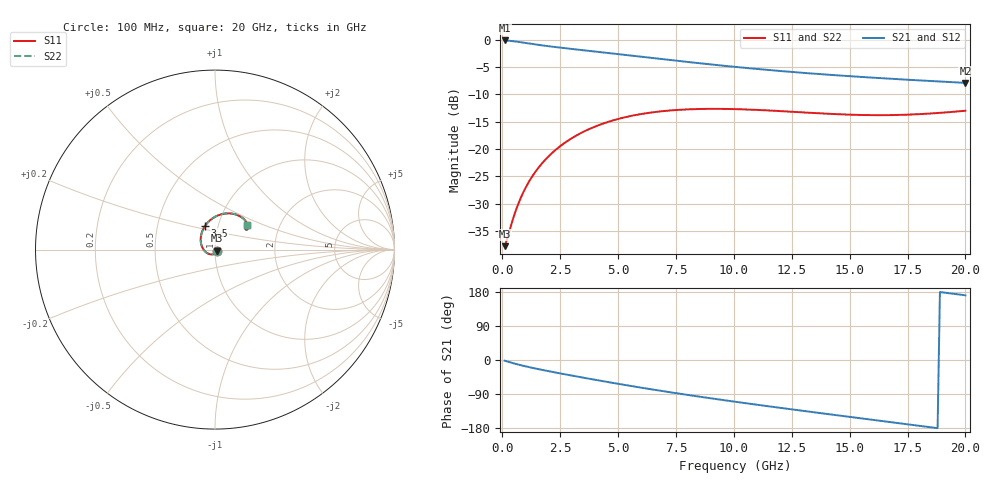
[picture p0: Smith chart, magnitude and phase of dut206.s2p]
! Touchstone file exported from HFSS 2023.1.0
!  File:  D:/Users/fzz/RDL_TSV/temp_RDL_TSV_206_1778756718.aedt
!  Generated:  7:14:07 %x4E0B%x5348  5%x6708 14, 2026
!  Design:  RDL_TSV
!  Project:  temp_RDL_TSV_206_1778756718
!  Setup:  Setup1
!  Solution:  Sweep
! Variables:
!  dtsv = 25.01um
!  hbump = 3um
!  htsv = 50.19um
!  ldown = 492.58um
!  lrdl = 225.38um
!  p = 40
!  p1 = 55.26um
!  rhole = 10um
!  subl = 2379.26um
!  t = 450um
!  tdown = 3.48um
!  trdl = 3.98um
!  viad = 10um
!  wdown = 16.82um
!  wrdl = 26.09um
!  xbump = 18um
# GHz S MA R 50.000000
! Terminal data exported
! Port[1] = TM1_1_T1
! Port[2] = TM1_4_T1
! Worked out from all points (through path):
!   200 points, 100 MHz to 20 GHz, reference 50 ohm
!   highest |S21| = -0.12 dB at 100 MHz (marker M1); lowest = -7.9 dB at 20 GHz (marker M2)
!   group delay of S21, straight-line fit = 25 ps
!   lowest |S11| = -37.8 dB at 100 MHz (marker M3), VSWR 1.03, Z = 51.2 - j0.561 ohm
!   |S11| at or under -10 dB: start of sweep to end of sweep
!   |S22| runs from -37.8 to -12.6 dB; largest |S21 - S12| = 3e-14
!   S11 on the Smith chart (normalised r, x): 100 MHz: 1.02, -0.01; 3.5 GHz: 0.87, +0.24; 20 GHz: 1.36, +0.40
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0.1  0.01294 -25.1  0.9868 -1.9  0.9868 -1.9  0.01294 -25.0
! Gamma 0 0 0 0
! Port Impedance 50 0 50 0
0.2  0.01487 -48.0  0.9843 -3.7  0.9843 -3.7  0.01486 -48.0
0.5  0.02431 -98.4  0.9701 -9.0  0.9701 -9.0  0.0243 -98.5
0.7  0.03191 -121.8  0.9575 -12.2  0.9575 -12.2  0.0319 -121.9
1  0.04404 -148.9  0.9368 -16.7  0.9368 -16.7  0.04405 -149.0
1.4  0.06078 -175.9  0.9096 -22.1  0.9096 -22.1  0.06082 -176.0
1.8  0.07762 163.7  0.885 -27.1  0.885 -27.1  0.07771 163.6
2.3  0.09829 144.2  0.8582 -33.1  0.8582 -33.1  0.09845 144.1
2.9  0.122 126.3  0.8297 -39.9  0.8297 -39.9  0.1222 126.3
3.5  0.1439 112.3  0.8032 -46.7  0.8032 -46.7  0.1443 112.2
4.3  0.1697 97.2  0.7694 -55.4  0.7694 -55.4  0.1702 97.2
5.1  0.1911 85.0  0.7365 -63.9  0.7365 -63.9  0.1916 85.0
5.9  0.2077 74.8  0.7045 -72.0  0.7045 -72.0  0.2083 74.8
6.8  0.221 65.1  0.6701 -80.9  0.6701 -80.9  0.2217 65.1
8.4  0.2326 51.6  0.6144 -95.7  0.6144 -95.7  0.2333 51.7
10.1  0.2321 41.5  0.5641 -110.5  0.5641 -110.5  0.2328 41.6
11.7  0.2246 35.4  0.5251 -123.8  0.5251 -123.8  0.2253 35.5
13.4  0.2143 32.3  0.4912 -137.5  0.4912 -137.5  0.215 32.4
15  0.2066 32.1  0.4649 -150.1  0.4649 -150.1  0.2073 32.2
16.7  0.2046 33.9  0.4413 -163.4  0.4413 -163.4  0.2053 34.1
18.3  0.2105 36.3  0.4221 -176.0  0.4221 -176.0  0.2112 36.5
20  0.2244 38.1  0.4038 170.7  0.4038 170.7  0.2252 38.3
